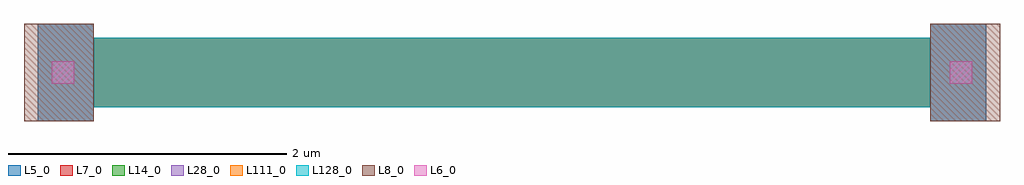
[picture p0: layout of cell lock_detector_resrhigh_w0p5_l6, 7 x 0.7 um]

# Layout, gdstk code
import gdstk
lib = gdstk.Library(unit=1e-6, precision=1e-09)
def R(c, l, rs):  # rectangles x0, y0, x1, y1
    for r in rs: c.add(gdstk.rectangle(r[:2], r[2:], *l))
L5_0 = (5, 0)
L6_0 = (6, 0)
L7_0 = (7, 0)
L8_0 = (8, 0)
L14_0 = (14, 0)
L28_0 = (28, 0)
L111_0 = (111, 0)
L128_0 = (128, 0)

lock_detector_resrhigh_w = lib.new_cell('lock_detector_resrhigh_w0p5_l6')
R(lock_detector_resrhigh_w, L5_0, [(0.1,0.1,0.5,0.8), (6.5,0.1,6.9,0.8), (0.5,0.2,6.5,0.7)])
R(lock_detector_resrhigh_w, L6_0, [(0.2,0.37,0.36,0.53), (6.64,0.37,6.8,0.53)])
R(lock_detector_resrhigh_w, L7_0, [(0.5,0.2,6.5,0.7)])
R(lock_detector_resrhigh_w, L8_0, [(0,0.1,0.5,0.8), (6.5,0.1,7,0.8)])
R(lock_detector_resrhigh_w, L14_0, [(0.5,0.2,6.5,0.7)])
R(lock_detector_resrhigh_w, L28_0, [(0.5,0.2,6.5,0.7)])
R(lock_detector_resrhigh_w, L111_0, [(0.5,0.2,6.5,0.7)])
R(lock_detector_resrhigh_w, L128_0, [(0.5,0.2,6.5,0.7)])

lib.write_gds('lock_detector_resrhigh_w0p5_l6.gds')
